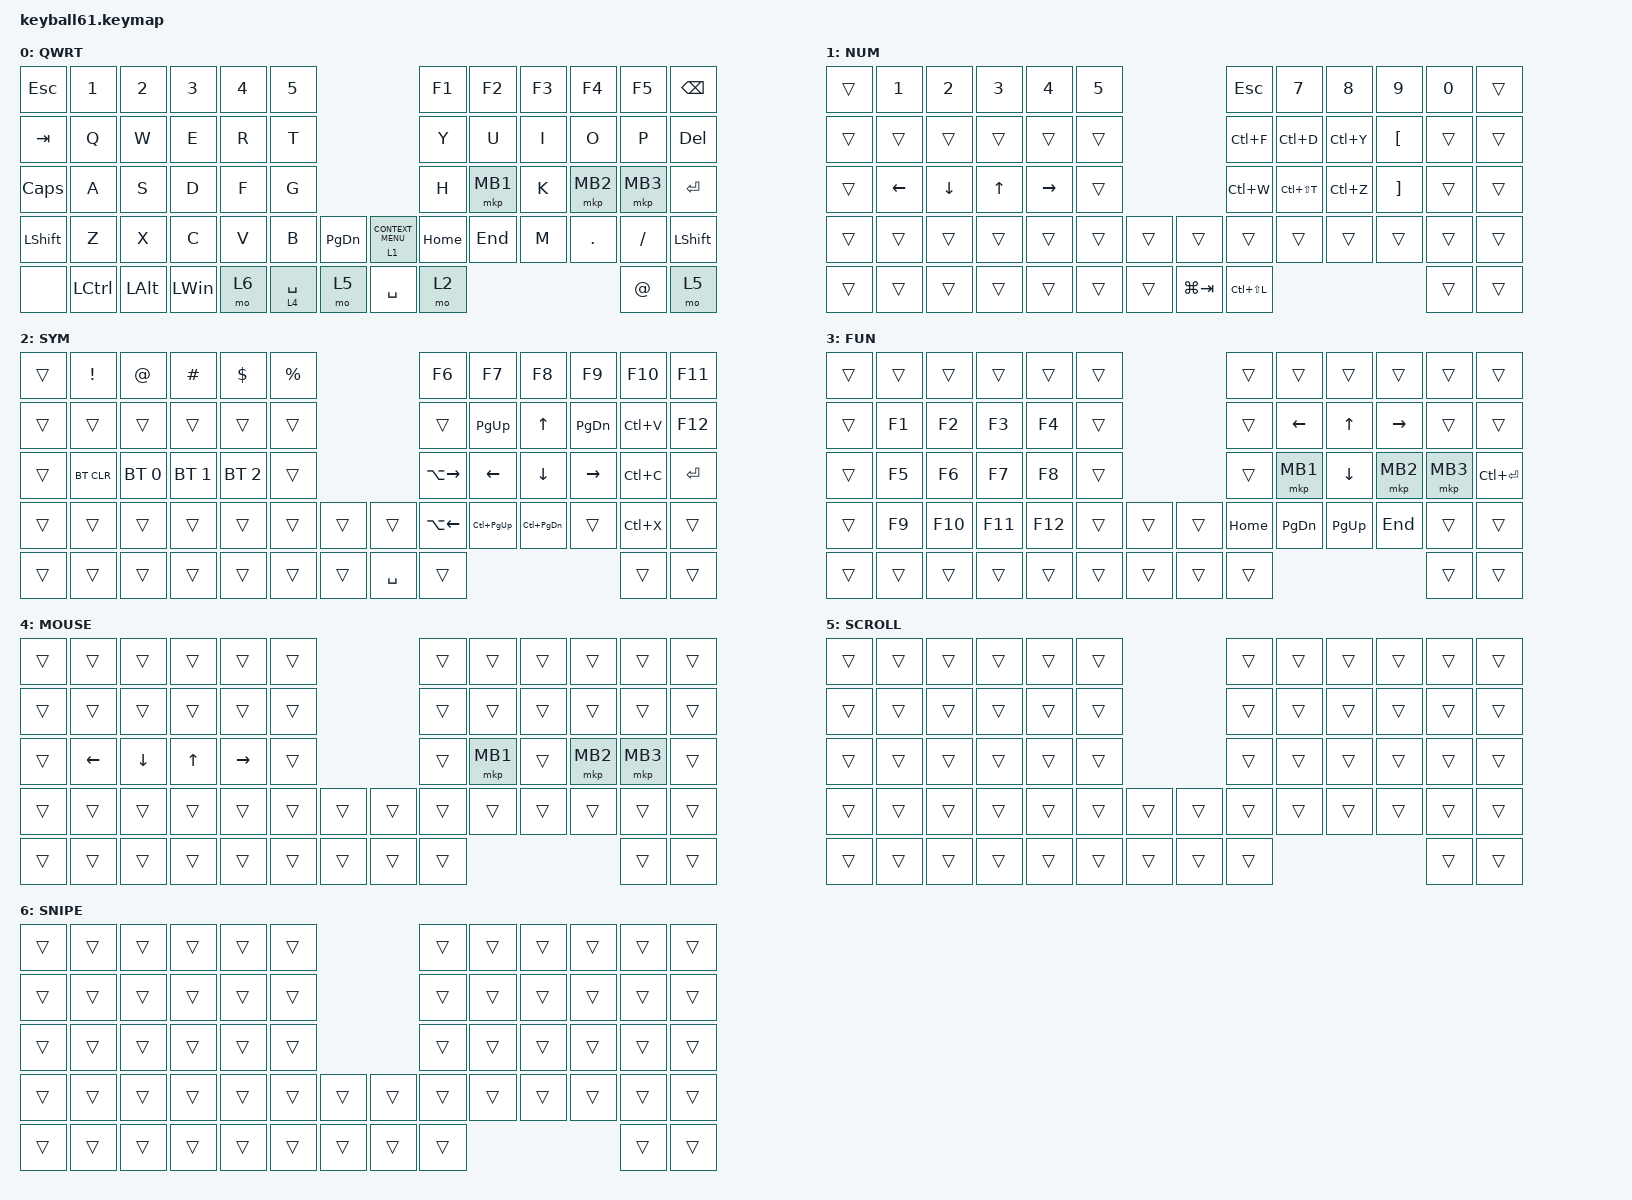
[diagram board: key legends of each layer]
#define DEFAULT 0
#define SYM     1
#define FUN     2
#define MOUSE   3
#define SCROLL  4
#define SNIPE   5

#include <behaviors/mouse_keys.dtsi>
#include <dt-bindings/zmk/mouse.h>
#include <behaviors.dtsi>
#include <dt-bindings/zmk/bt.h>
#include <dt-bindings/zmk/keys.h>
#include <dt-bindings/zmk/pointing.h>

&lt {
    tapping-term-ms = <240>;
    flavor = "balanced";
    quick-tap-ms = <150>;
};

&mt {
    tapping-term-ms = <200>;
    flavor = "tap-preferred";
    quick-tap-ms = <150>;
};

/ {
    keymap {
        compatible = "zmk,keymap";

        default_layer {
            label = "QWRT";
            bindings = <
&kp ESC         &kp N1     &kp N2        &kp N3        &kp N4  &kp N5                                            &kp F1    &kp F2    &kp F3  &kp F4    &kp F5       &kp BSPC
&kp TAB         &kp Q      &kp W         &kp E         &kp R   &kp T                                             &kp Y     &kp U     &kp I   &kp O     &kp P        &kp DELETE
&kp CAPS        &kp A      &kp S         &kp D         &kp F   &kp G                                             &kp H     &mkp MB1  &kp K   &mkp MB2  &mkp MB3     &kp ENTER
&kp LEFT_SHIFT  &kp Z      &kp X         &kp C         &kp V   &kp B        &kp PAGE_DOWN  &lt 1 K_CONTEXT_MENU  &kp HOME  &kp END   &kp M   &kp DOT   &kp FSLH     &kp LEFT_SHIFT
&none           &kp LCTRL  &kp LEFT_ALT  &kp LEFT_WIN  &mo 6   &lt 4 SPACE  &mo 5          &kp SPACE             &mo 2                                 &kp AT_SIGN  &mo 5
            >;
        };

        number_layer {
            bindings = <
&trans  &kp N1    &kp N2    &kp N3  &kp N4     &kp N5                       &kp ESCAPE     &kp N7         &kp N8     &kp N9             &kp N0  &trans
&trans  &trans    &trans    &trans  &trans     &trans                       &kp LC(F)      &kp LC(D)      &kp LC(Y)  &kp LEFT_BRACKET   &trans  &trans
&trans  &kp LEFT  &kp DOWN  &kp UP  &kp RIGHT  &trans                       &kp LC(W)      &kp LC(LS(T))  &kp LC(Z)  &kp RIGHT_BRACKET  &trans  &trans
&trans  &trans    &trans    &trans  &trans     &trans  &trans  &trans       &trans         &trans         &trans     &trans             &trans  &trans
&trans  &trans    &trans    &trans  &trans     &trans  &trans  &kp LG(TAB)  &kp LC(LS(L))                                               &trans  &trans
            >;

            label = "NUM";
        };

        symbol_layer {
            label = "SYM";
            bindings = <
&trans  &kp EXCLAMATION  &kp AT_SIGN   &kp HASH      &kp DOLLAR    &kp PERCENT                     &kp F6               &kp F7           &kp F8             &kp F9           &kp F10    &kp F11
&trans  &trans           &trans        &trans        &trans        &trans                          &trans               &kp PAGE_UP      &kp UP_ARROW       &kp PAGE_DOWN    &kp LC(V)  &kp F12
&trans  &bt BT_CLR       &bt BT_SEL 0  &bt BT_SEL 1  &bt BT_SEL 2  &trans                          &kp LA(RIGHT_ARROW)  &kp LEFT_ARROW   &kp DOWN_ARROW     &kp RIGHT_ARROW  &kp LC(C)  &kp ENTER
&trans  &trans           &trans        &trans        &trans        &trans       &trans  &trans     &kp LA(LEFT_ARROW)   &kp LC(PAGE_UP)  &kp LC(PAGE_DOWN)  &trans           &kp LC(X)  &trans
&trans  &trans           &trans        &trans        &trans        &trans       &trans  &kp SPACE  &trans                                                                    &trans     &trans
            >;
        };

        function_layer {
            label = "FUN";
            bindings = <
&trans  &trans  &trans   &trans   &trans   &trans                  &trans    &trans          &trans          &trans           &trans    &trans
&trans  &kp F1  &kp F2   &kp F3   &kp F4   &trans                  &trans    &kp LEFT_ARROW  &kp UP_ARROW    &kp RIGHT_ARROW  &trans    &trans
&trans  &kp F5  &kp F6   &kp F7   &kp F8   &trans                  &trans    &mkp MB1        &kp DOWN_ARROW  &mkp MB2         &mkp MB3  &kp LC(ENTER)
&trans  &kp F9  &kp F10  &kp F11  &kp F12  &trans  &trans  &trans  &kp HOME  &kp PAGE_DOWN   &kp PAGE_UP     &kp END          &trans    &trans
&trans  &trans  &trans   &trans   &trans   &trans  &trans  &trans  &trans                                                     &trans    &trans
            >;
        };

        mouse_layer {
            label = "MOUSE";
            bindings = <
&trans  &trans    &trans    &trans  &trans     &trans                  &trans  &trans    &trans  &trans    &trans    &trans
&trans  &trans    &trans    &trans  &trans     &trans                  &trans  &trans    &trans  &trans    &trans    &trans
&trans  &kp LEFT  &kp DOWN  &kp UP  &kp RIGHT  &trans                  &trans  &mkp MB1  &trans  &mkp MB2  &mkp MB3  &trans
&trans  &trans    &trans    &trans  &trans     &trans  &trans  &trans  &trans  &trans    &trans  &trans    &trans    &trans
&trans  &trans    &trans    &trans  &trans     &trans  &trans  &trans  &trans                              &trans    &trans
            >;
        };

        scroll_layer {
            label = "SCROLL";
            bindings = <
&trans  &trans  &trans  &trans  &trans  &trans                  &trans  &trans  &trans  &trans  &trans  &trans
&trans  &trans  &trans  &trans  &trans  &trans                  &trans  &trans  &trans  &trans  &trans  &trans
&trans  &trans  &trans  &trans  &trans  &trans                  &trans  &trans  &trans  &trans  &trans  &trans
&trans  &trans  &trans  &trans  &trans  &trans  &trans  &trans  &trans  &trans  &trans  &trans  &trans  &trans
&trans  &trans  &trans  &trans  &trans  &trans  &trans  &trans  &trans                          &trans  &trans
            >;
        };

        snipe_layer {
            label = "SNIPE";
            bindings = <
&trans  &trans  &trans  &trans  &trans  &trans                  &trans  &trans  &trans  &trans  &trans  &trans
&trans  &trans  &trans  &trans  &trans  &trans                  &trans  &trans  &trans  &trans  &trans  &trans
&trans  &trans  &trans  &trans  &trans  &trans                  &trans  &trans  &trans  &trans  &trans  &trans
&trans  &trans  &trans  &trans  &trans  &trans  &trans  &trans  &trans  &trans  &trans  &trans  &trans  &trans
&trans  &trans  &trans  &trans  &trans  &trans  &trans  &trans  &trans                          &trans  &trans
            >;
        };
    };
};
